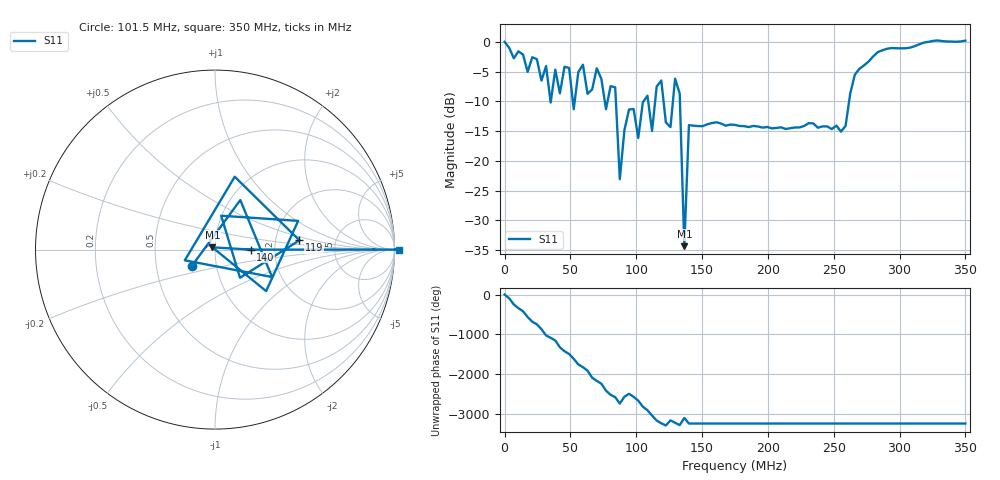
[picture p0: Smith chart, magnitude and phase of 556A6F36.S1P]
!File created by NanoVNA
# Hz S RI R 50
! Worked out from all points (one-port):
!   101 points, 50 kHz to 350 MHz, reference 50 ohm
!   lowest |S11| = -34.4 dB at 136.5 MHz (marker M1), VSWR 1.04, Z = 48.6 + j1.23 ohm
!   |S11| at or under -10 dB: 84.57 MHz to 105.6 MHz (21.01 MHz wide, 22.1 % of centre); 120.8 MHz to 127.9 MHz (7.127 MHz wide, 5.73 % of centre); 133.2 MHz to 261.7 MHz (128.5 MHz wide, 65.1 % of centre) (the widest 3 of 7)
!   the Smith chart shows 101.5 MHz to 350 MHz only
!   S11 on the Smith chart (normalised r, x): 101.5 MHz: 0.76, -0.14; 119 MHz: 2.74, +0.37; 140 MHz: 1.50, +0.00; 350 MHz: -88, -0
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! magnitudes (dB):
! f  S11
! 50 kHz  0.0
! 31.55 MHz  -4.1
! 35.05 MHz  -10.2
! 38.54 MHz  -4.7
! 45.54 MHz  -4.2
! 52.54 MHz  -11.3
! 59.54 MHz  -3.8
! 63.04 MHz  -8.7
! 70.04 MHz  -4.5
! 77.04 MHz  -11.3
! 84.04 MHz  -7.6
! 87.54 MHz  -23.1
! 94.54 MHz  -11.4
! 101.5 MHz  -16.2
! 108.5 MHz  -9.1
! 112 MHz  -15.0
! 119 MHz  -6.5
! 126 MHz  -14.3
! 129.5 MHz  -6.2
! 133 MHz  -8.7
! 136.5 MHz  -34.4
! 140 MHz  -14.0
! 175 MHz  -14.0
! 220.5 MHz  -14.4
! 255.5 MHz  -15.1
! 262.5 MHz  -8.7
! 308 MHz  -1.0
! 350 MHz  0.2
